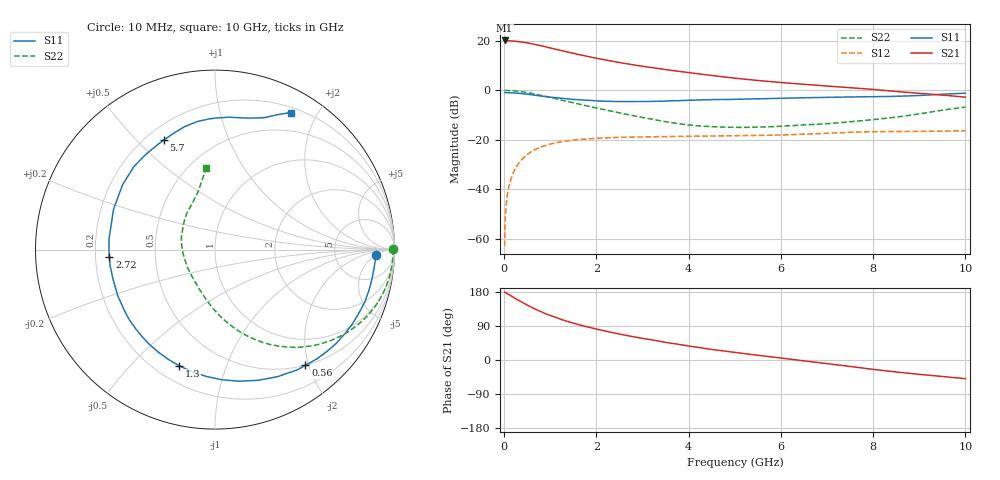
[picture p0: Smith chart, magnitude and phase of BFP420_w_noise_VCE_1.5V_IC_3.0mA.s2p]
! Infineon Technologies  Discrete & RF Semiconductors
! BFP420
! VCE =  1.5 V,  IC =  3.0 mA
! Common Emitter S-Parameters:  Jan 2016
# GHz  S  MA  R  50
!  f  S11  S21  S12  S22
! GHz  MAG  ANG  MAG  ANG  MAG  ANG  MAG  ANG
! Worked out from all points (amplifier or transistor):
!   233 points, 10 MHz to 10 GHz, reference 50 ohm
!   highest |S21| = 20.2 dB at 10 MHz (marker M1)
!   |S21| within 3 dB of that: start of sweep to 997.6 MHz
!   unconditionally stable (mu >= 1): 3.506 GHz to end of sweep
!   at 200 MHz: K = 0.04, MSG = 26.6 dB, |S12| = -33.4 dB
!   at 1.74 GHz: K = 0.47, MSG = 16.9 dB, |S12| = -19.8 dB
!   at 10 GHz: K = 1.17, MAG = 4.3 dB, |S12| = -16.4 dB
!   lowest NFmin = 0.57 dB at 900 MHz
!   S11 on the Smith chart (normalised r, x): 10 MHz: 17, -5; 560 MHz: 0.50, -1.95; 1.3 GHz: 0.29, -0.70; 2.72 GHz: 0.26, -0.03; 5.7 GHz: 0.27, +0.60; 10 GHz: 0.26, +1.66
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0.01  0.8984 -1.8  10.18 179.3  0.0007 95.9  0.9902 0.1
0.02  0.8941 -1.9  9.932 178.9  0.0022 95.0  0.9916 -1.1
0.045  0.8943 -4.2  9.966 176.7  0.0049 87.8  0.9914 -2.6
0.13  0.8884 -12.5  9.99 170.6  0.0141 83.1  0.9855 -7.6
0.2  0.8846 -19.1  9.911 165.6  0.0215 79.5  0.9764 -11.7
0.36  0.8594 -34.2  9.552 154.3  0.0375 71.1  0.9405 -20.7
0.56  0.8182 -52.0  8.878 141.3  0.0548 61.5  0.8754 -31.1
0.7  0.7887 -63.9  8.364 132.8  0.065 55.5  0.8246 -37.7
0.9  0.7454 -79.6  7.567 122.1  0.0767 48.0  0.7495 -46.0
1.1  0.7083 -93.9  6.829 112.8  0.0858 41.8  0.6784 -53.2
1.3  0.6773 -107.1  6.16 104.5  0.0927 36.3  0.6126 -59.7
1.68  0.6335 -129.1  5.128 91.2  0.1017 28.1  0.5082 -70.1
1.9  0.6177 -140.3  4.637 84.3  0.1053 24.2  0.4579 -75.4
2.2  0.6 -154.2  4.091 76.0  0.109 19.8  0.3998 -82.0
2.72  0.5897 -175.9  3.362 63.3  0.1127 13.6  0.3166 -93.7
3.4  0.6017 161.4  2.698 48.9  0.1152 7.7  0.2398 -110.6
4.3  0.637 138.4  2.097 31.6  0.118 2.1  0.1878 -138.9
5.1  0.6571 124.4  1.719 18.4  0.1203 -1.4  0.1774 -163.0
5.7  0.6729 115.2  1.516 9.6  0.1227 -3.3  0.1816 -179.9
6.8  0.7134 100.3  1.258 -6.6  0.1323 -7.2  0.2053 153.7
8.4  0.7502 77.8  0.962 -30.3  0.146 -18.0  0.2785 118.8
10  0.8717 61.1  0.724 -49.3  0.1516 -25.5  0.4562 96.1
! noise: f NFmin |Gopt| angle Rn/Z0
0.9  0.57  0.35  33  0.18
1.8  1.02  0.2  79  0.14
2.4  1.1  0.23  104  0.14
3  1.25  0.24  144  0.11
4  1.46  0.33  -159  0.1
5  1.9  0.39  -128  0.22
6  2.46  0.48  -107  0.35
